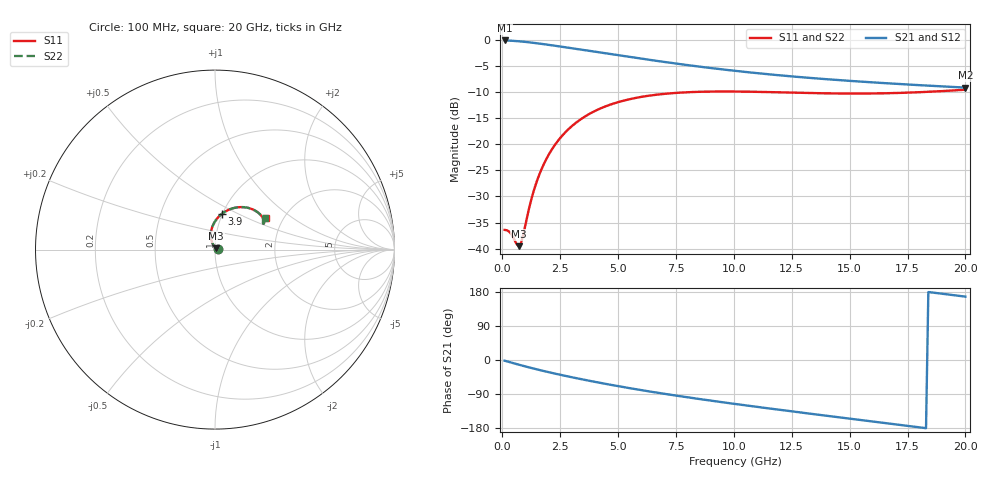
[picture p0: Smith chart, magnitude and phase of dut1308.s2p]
! Touchstone file exported from HFSS 2024.1.0
!  File:  C:/UserFiles/LocalFiles/RDL_TSV_Batchsim/temp_RDL_TSV_1308_1780384213.aedt
!  Generated:  03:23:38 PM Jun  2, 2026
!  Design:  RDL_TSV
!  Project:  temp_RDL_TSV_1308_1780384213
!  Setup:  Setup1
!  Solution:  Sweep
! Variables:
!  dtsv = 11.92um
!  hbump = 3um
!  htsv = 67.62um
!  ldown = 280.73um
!  lrdl = 472.32um
!  p = 40
!  p1 = 53.99um
!  rhole = 10um
!  subl = 2731.47um
!  t = 450um
!  tdown = 2.62um
!  trdl = 3.5um
!  viad = 10um
!  wdown = 21.17um
!  wrdl = 20.45um
!  xbump = 18um
# GHz S MA R 50.000000
! Terminal data exported
! Port[1] = TM1_1_T1
! Port[2] = TM1_4_T1
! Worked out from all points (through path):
!   200 points, 100 MHz to 20 GHz, reference 50 ohm
!   highest |S21| = -0.14 dB at 100 MHz (marker M1); lowest = -9.2 dB at 20 GHz (marker M2)
!   group delay of S21, straight-line fit = 25.1 ps
!   lowest |S11| = -39.5 dB at 700 MHz (marker M3), VSWR 1.02, Z = 50.7 + j0.837 ohm
!   |S11| at or under -10 dB: start of sweep to 8.267 GHz; 11.32 GHz to 18.22 GHz (6.903 GHz wide, 46.7 % of centre)
!   |S22| runs from -39.5 to -9.6 dB; largest |S21 - S12| = 1.6e-14
!   S11 on the Smith chart (normalised r, x): 100 MHz: 1.03, +0.00; 3.9 GHz: 0.99, +0.41; 20 GHz: 1.63, +0.64
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0.1  0.01513 4.6  0.9843 -1.8  0.9843 -1.8  0.01513 4.6
! Gamma 0 0 0 0
! Port Impedance 50 0 50 0
0.3  0.01456 12.5  0.9807 -5.3  0.9807 -5.3  0.01456 12.5
0.7  0.01058 51.4  0.9675 -12.1  0.9675 -12.1  0.01058 51.3
0.8  0.01119 70.6  0.9632 -13.8  0.9632 -13.8  0.01118 70.5
0.9  0.01339 87.2  0.9586 -15.4  0.9586 -15.4  0.01338 87.2
1.2  0.02663 109.3  0.9429 -20.2  0.9429 -20.2  0.02662 109.3
1.4  0.03837 112.1  0.9313 -23.3  0.9313 -23.3  0.03836 112.1
1.6  0.05132 111.7  0.9192 -26.3  0.9192 -26.3  0.0513 111.7
1.9  0.07201 108.6  0.9003 -30.7  0.9003 -30.7  0.07199 108.6
2.2  0.09334 104.3  0.881 -34.9  0.881 -34.9  0.09332 104.3
2.6  0.1216 98.1  0.8552 -40.3  0.8552 -40.3  0.1216 98.1
3  0.1488 91.9  0.8298 -45.5  0.8298 -45.5  0.1487 91.9
3.5  0.1801 84.6  0.7987 -51.7  0.7987 -51.7  0.1801 84.6
3.9  0.2027 79.1  0.7746 -56.5  0.7746 -56.5  0.2026 79.1
5.2  0.2599 64.0  0.7007 -71.1  0.7007 -71.1  0.2599 64.0
6.8  0.3003 50.1  0.6217 -87.3  0.6217 -87.3  0.3002 50.1
8.4  0.317 40.3  0.557 -102.0  0.557 -102.0  0.3168 40.3
10.1  0.3194 33.4  0.5026 -116.4  0.5026 -116.4  0.3192 33.4
11.7  0.3148 29.6  0.4626 -129.2  0.4626 -129.2  0.3146 29.7
13.4  0.3085 28.0  0.4292 -142.5  0.4292 -142.5  0.3082 28.1
16.7  0.3079 29.5  0.3821 -167.7  0.3821 -167.7  0.3077 29.7
20  0.3324 32.0  0.3483 167.2  0.3483 167.2  0.3325 32.2
